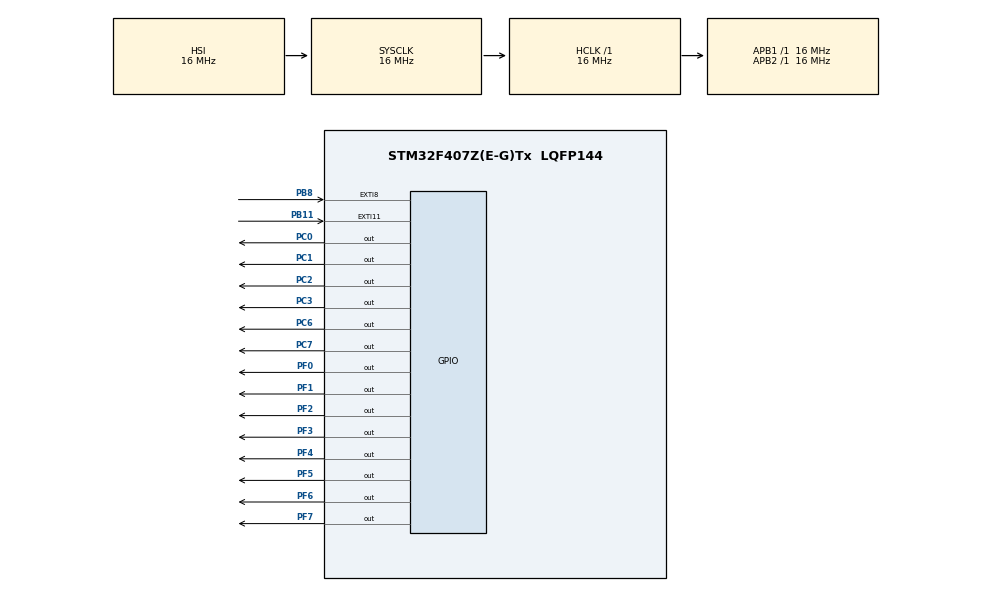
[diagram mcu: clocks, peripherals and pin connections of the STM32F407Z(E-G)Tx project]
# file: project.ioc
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Mcu.Family=STM32F4
Mcu.Name=STM32F407Z(E-G)Tx
Mcu.Package=LQFP144
NVIC.EXTI15_10_IRQn=true\:9\:0\:true\:false\:true\:true\:true\:true
NVIC.EXTI9_5_IRQn=true\:8\:0\:true\:false\:true\:true\:true\:true
NVIC.PriorityGroup=NVIC_PRIORITYGROUP_4
NVIC.TIM1_UP_TIM10_IRQn=true\:10\:0\:true\:false\:true\:true\:true\:true
PB11.Signal=GPXTI11
PB8.Signal=GPXTI8
PC0.Signal=GPIO_Output
PC1.Signal=GPIO_Output
PC2.Signal=GPIO_Output
PC3.Signal=GPIO_Output
PC6.Signal=GPIO_Output
PC7.Signal=GPIO_Output
PF0.Signal=GPIO_Output
PF1.Signal=GPIO_Output
PF2.Signal=GPIO_Output
PF3.Signal=GPIO_Output
PF4.Signal=GPIO_Output
PF5.Signal=GPIO_Output
PF6.Signal=GPIO_Output
PF7.Signal=GPIO_Output
PH0-OSC_IN.Mode=HSE-External-Oscillator
PH0-OSC_IN.Signal=RCC_OSC_IN
PH1-OSC_OUT.Mode=HSE-External-Oscillator
PH1-OSC_OUT.Signal=RCC_OSC_OUT
ProjectManager.HeapSize=0x200
ProjectManager.StackSize=0x400
ProjectManager.TargetToolchain=STM32CubeIDE
RCC.AHBFreq_Value=16000000
RCC.APB1Freq_Value=16000000
RCC.APB2Freq_Value=16000000
RCC.CortexFreq_Value=16000000
RCC.HSE_VALUE=25000000
RCC.HSI_VALUE=16000000
RCC.LSE_VALUE=32768
RCC.SYSCLKFreq_VALUE=16000000
RCC.VCOOutputFreq_Value=192000000
TIM1.AutoReloadPreload=TIM_AUTORELOAD_PRELOAD_ENABLE
TIM1.Period=9999
TIM1.Prescaler=2499
VP_TIM1_VS_ClockSourceINT.Mode=Internal
VP_TIM1_VS_ClockSourceITR.Mode=TriggerSource_ITR0
board=custom

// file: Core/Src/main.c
/* USER CODE BEGIN Header */
/**
  ******************************************************************************
  * @file           : main.c
  * @brief          : Main program body
  ******************************************************************************
  * @attention
  *
  * Copyright (c) 2024 STMicroelectronics.
  * All rights reserved.
  *
  * This software is licensed under terms that can be found in the LICENSE file
  * in the root directory of this software component.
  * If no LICENSE file comes with this software, it is provided AS-IS.
  *
  ******************************************************************************
  */
/* USER CODE END Header */
#include "main.h"

/* USER CODE BEGIN Includes */
#include <stdbool.h>
/* USER CODE END Includes */

TIM_HandleTypeDef htim1;

/* USER CODE BEGIN PV */
uint8_t  cont = 0;
uint16_t led_data = 0;
uint16_t segdata = 0x00C4;
bool reverse = 0;
uint8_t cnt = 0;
uint8_t datacnt = 0;
uint8_t segflag = 0;
uint8_t LED_table[18]={
//01234567
        0xC0,0xF9,0xA4,0xB0,0x99,0x92,0x82,0xF8,
//89ABCDEF
        0x80,0x90,0x88,0x83,0xC6,0xA1,0x86,0x8E,
//熄灭-
        0xFF,0xBF};
//共阳数码管段码�??0123456789AbCdEF熄灭-�???

uint8_t num[8]={2,2,2,1,0,4,8,6};

bool key1_flag = 0;
bool key2_flag = 0;
bool EXIT2_flag = 0;
bool TIM_Stop_flag =  0;
bool TIM_Stop_flag1 = 0;
uint8_t Resumecnt = 0;
bool reverse_RYG = 0;
bool TIM_IT = 0;
/* USER CODE END PV */

void SystemClock_Config(void);
static void MX_GPIO_Init(void);
static void MX_TIM1_Init(void);

/* USER CODE BEGIN 0 */
void SegPos();
void SegData();
void LED_OUT(uint8_t outdata);
void led();
void NumSegData();
void NumSegPos();
void NumSegShow();
void RYG();
/* USER CODE END 0 */

int main(void)
{

  /* MCU Configuration--------------------------------------------------------*/

  /* Reset of all peripherals, Initializes the Flash interface and the Systick. */
  HAL_Init();

  /* Configure the system clock */
  SystemClock_Config();

  /* Initialize all configured peripherals */
  MX_GPIO_Init();
  MX_TIM1_Init();
  HAL_TIM_Base_Init(&htim1);

  /* Infinite loop */
    while (1)
    {

    /* USER CODE BEGIN 3 */
    /*
        SegData();
        SegPos();
        led();
        HAL_Delay(1000);
        */
    }
  /* USER CODE END 3 */
}

void SystemClock_Config(void)
{
  RCC_OscInitTypeDef RCC_OscInitStruct = {0};
  RCC_ClkInitTypeDef RCC_ClkInitStruct = {0};

  /** Configure the main internal regulator output voltage
  */
  __HAL_RCC_PWR_CLK_ENABLE();
  __HAL_PWR_VOLTAGESCALING_CONFIG(PWR_REGULATOR_VOLTAGE_SCALE1);

  /** Initializes the RCC Oscillators according to the specified parameters
  * in the RCC_OscInitTypeDef structure.
  */
  RCC_OscInitStruct.OscillatorType = RCC_OSCILLATORTYPE_HSI;
  RCC_OscInitStruct.HSIState = RCC_HSI_ON;
  RCC_OscInitStruct.HSICalibrationValue = RCC_HSICALIBRATION_DEFAULT;
  RCC_OscInitStruct.PLL.PLLState = RCC_PLL_NONE;
  if (HAL_RCC_OscConfig(&RCC_OscInitStruct) != HAL_OK)
  {
    Error_Handler();
  }

  /** Initializes the CPU, AHB and APB buses clocks
  */
  RCC_ClkInitStruct.ClockType = RCC_CLOCKTYPE_HCLK|RCC_CLOCKTYPE_SYSCLK
                              |RCC_CLOCKTYPE_PCLK1|RCC_CLOCKTYPE_PCLK2;
  RCC_ClkInitStruct.SYSCLKSource = RCC_SYSCLKSOURCE_HSI;
  RCC_ClkInitStruct.AHBCLKDivider = RCC_SYSCLK_DIV1;
  RCC_ClkInitStruct.APB1CLKDivider = RCC_HCLK_DIV1;
  RCC_ClkInitStruct.APB2CLKDivider = RCC_HCLK_DIV1;

  if (HAL_RCC_ClockConfig(&RCC_ClkInitStruct, FLASH_LATENCY_0) != HAL_OK)
  {
    Error_Handler();
  }
}

static void MX_TIM1_Init(void)
{

  TIM_ClockConfigTypeDef sClockSourceConfig = {0};
  TIM_SlaveConfigTypeDef sSlaveConfig = {0};
  TIM_MasterConfigTypeDef sMasterConfig = {0};

  htim1.Instance = TIM1;
  htim1.Init.Prescaler = 2499;
  htim1.Init.CounterMode = TIM_COUNTERMODE_UP;
  htim1.Init.Period = 9999;
  htim1.Init.ClockDivision = TIM_CLOCKDIVISION_DIV1;
  htim1.Init.RepetitionCounter = 0;
  htim1.Init.AutoReloadPreload = TIM_AUTORELOAD_PRELOAD_ENABLE;
  if (HAL_TIM_Base_Init(&htim1) != HAL_OK)
  {
    Error_Handler();
  }
  sClockSourceConfig.ClockSource = TIM_CLOCKSOURCE_INTERNAL;
  if (HAL_TIM_ConfigClockSource(&htim1, &sClockSourceConfig) != HAL_OK)
  {
    Error_Handler();
  }
  sSlaveConfig.SlaveMode = TIM_SLAVEMODE_DISABLE;
  sSlaveConfig.InputTrigger = TIM_TS_ITR0;
  if (HAL_TIM_SlaveConfigSynchro(&htim1, &sSlaveConfig) != HAL_OK)
  {
    Error_Handler();
  }
  sMasterConfig.MasterOutputTrigger = TIM_TRGO_RESET;
  sMasterConfig.MasterSlaveMode = TIM_MASTERSLAVEMODE_DISABLE;
  if (HAL_TIMEx_MasterConfigSynchronization(&htim1, &sMasterConfig) != HAL_OK)
  {
    Error_Handler();
  }

}

static void MX_GPIO_Init(void)
{
  GPIO_InitTypeDef GPIO_InitStruct = {0};

  /* GPIO Ports Clock Enable */
  __HAL_RCC_GPIOF_CLK_ENABLE();
  __HAL_RCC_GPIOH_CLK_ENABLE();
  __HAL_RCC_GPIOC_CLK_ENABLE();
  __HAL_RCC_GPIOB_CLK_ENABLE();

  /*Configure GPIO pin Output Level */
  HAL_GPIO_WritePin(GPIOF, GPIO_PIN_0|GPIO_PIN_1|GPIO_PIN_2|GPIO_PIN_3
                          |GPIO_PIN_4|GPIO_PIN_5|GPIO_PIN_6|GPIO_PIN_7, GPIO_PIN_RESET);

  /*Configure GPIO pin Output Level */
  HAL_GPIO_WritePin(GPIOC, GPIO_PIN_0|GPIO_PIN_1|GPIO_PIN_2|GPIO_PIN_3
                          |GPIO_PIN_6|GPIO_PIN_7, GPIO_PIN_RESET);

  /*Configure GPIO pins : PF0 PF1 PF2 PF3
                           PF4 PF5 PF6 PF7 */
  GPIO_InitStruct.Pin = GPIO_PIN_0|GPIO_PIN_1|GPIO_PIN_2|GPIO_PIN_3
                          |GPIO_PIN_4|GPIO_PIN_5|GPIO_PIN_6|GPIO_PIN_7;
  GPIO_InitStruct.Mode = GPIO_MODE_OUTPUT_PP;
  GPIO_InitStruct.Pull = GPIO_NOPULL;
  GPIO_InitStruct.Speed = GPIO_SPEED_FREQ_LOW;
  HAL_GPIO_Init(GPIOF, &GPIO_InitStruct);

  /*Configure GPIO pins : PC0 PC1 PC2 PC3
                           PC6 PC7 */
  GPIO_InitStruct.Pin = GPIO_PIN_0|GPIO_PIN_1|GPIO_PIN_2|GPIO_PIN_3
                          |GPIO_PIN_6|GPIO_PIN_7;
  GPIO_InitStruct.Mode = GPIO_MODE_OUTPUT_PP;
  GPIO_InitStruct.Pull = GPIO_NOPULL;
  GPIO_InitStruct.Speed = GPIO_SPEED_FREQ_LOW;
  HAL_GPIO_Init(GPIOC, &GPIO_InitStruct);

  /*Configure GPIO pins : PB11 PB8 */
  GPIO_InitStruct.Pin = GPIO_PIN_11|GPIO_PIN_8;
  GPIO_InitStruct.Mode = GPIO_MODE_IT_RISING;
  GPIO_InitStruct.Pull = GPIO_NOPULL;
  HAL_GPIO_Init(GPIOB, &GPIO_InitStruct);

  /* EXTI interrupt init*/
  HAL_NVIC_SetPriority(EXTI9_5_IRQn, 8, 0);
  HAL_NVIC_EnableIRQ(EXTI9_5_IRQn);

  HAL_NVIC_SetPriority(EXTI15_10_IRQn, 9, 0);
  HAL_NVIC_EnableIRQ(EXTI15_10_IRQn);

}

/* USER CODE BEGIN 4 */
void led(){
    led_data = 1<<cont;
    HAL_GPIO_WritePin(GPIOF, 0xFF,GPIO_PIN_RESET);
    HAL_GPIO_WritePin(GPIOF, led_data,GPIO_PIN_SET);
    cont++;
    cont &= 0x07;    //大于7后清�???
}

/****************************************************************/
//单字节数据串行移位函数LED_OUT()，有形参outdata用于传入实际数据
//无返回�??
/****************************************************************/
void LED_OUT(uint8_t outdata)
{
    if(!segflag) {
        uint8_t i;
        for (i = 0; i < 8; i++)//循环8�??
        {
            if (outdata & 0x80)//逐一取出�??高位 1000 0000 b
                HAL_GPIO_WritePin(GPIOC, GPIO_PIN_0, GPIO_PIN_SET);
            else
                HAL_GPIO_WritePin(GPIOC, GPIO_PIN_0, GPIO_PIN_RESET);
            outdata <<= 1;//执行左移�??位操�??
            HAL_GPIO_WritePin(GPIOC, GPIO_PIN_2, GPIO_PIN_RESET);
            HAL_Delay(1);
            HAL_GPIO_WritePin(GPIOC, GPIO_PIN_2, GPIO_PIN_SET);
        }
        HAL_GPIO_WritePin(GPIOC, GPIO_PIN_1, GPIO_PIN_RESET);
        HAL_Delay(1);
        HAL_GPIO_WritePin(GPIOC, GPIO_PIN_1, GPIO_PIN_SET);
    }
    segflag = 1;
}

void SegPos(){
    HAL_GPIO_WritePin(GPIOC, GPIO_PIN_3,cnt%2==1?GPIO_PIN_SET:GPIO_PIN_RESET);
    HAL_GPIO_WritePin(GPIOC, GPIO_PIN_4,cnt/2%2==1?GPIO_PIN_SET:GPIO_PIN_RESET);
    HAL_GPIO_WritePin(GPIOC, GPIO_PIN_5,cnt/4%2==1?GPIO_PIN_SET:GPIO_PIN_RESET);
    cnt++;
    cnt &= 0x07;
}

void SegData(){

    LED_OUT(LED_table[num[datacnt]]);
    datacnt = datacnt==9?0:datacnt+1;
    segflag = 0;
}

void NumSegShow(){
    //���������λ��
    HAL_GPIO_WritePin(GPIOC, GPIO_PIN_3,GPIO_PIN_RESET);
    HAL_GPIO_WritePin(GPIOC, GPIO_PIN_4,GPIO_PIN_RESET);
    HAL_GPIO_WritePin(GPIOC, GPIO_PIN_5,GPIO_PIN_RESET);
    //�������������
    LED_OUT(LED_table[datacnt]);
    //��ʱ������
    datacnt = datacnt == 9 ? 0 : datacnt + 1;
    //key2�����ж�����
    if(datacnt == 6)
        EXIT2_flag = 1;
    else
        EXIT2_flag = 0;
    segflag = 0;
}

void RYG(){
    HAL_GPIO_TogglePin(GPIOF,GPIO_PIN_9|GPIO_PIN_10|GPIO_PIN_12|GPIO_PIN_13|GPIO_PIN_14|GPIO_PIN_15);
}

void HAL_TIM_PeriodElapsedCallback(TIM_HandleTypeDef *htim)
{
    if (htim == &htim1)
    {
        if(!TIM_Stop_flag1){
            if(!TIM_Stop_flag){
                NumSegShow();
            }
            else{
                led();
                Resumecnt++;
            }
        }
        else{
            RYG();
            Resumecnt++;
        }
        if(Resumecnt == 5) {
            TIM_Stop_flag = 0;
            TIM_Stop_flag1 = 0;
            Resumecnt = 0;
        }
    }
}
/* USER CODE END 4 */

void Error_Handler(void)
{
    __disable_irq();
    while (1)
    {
    }
}
